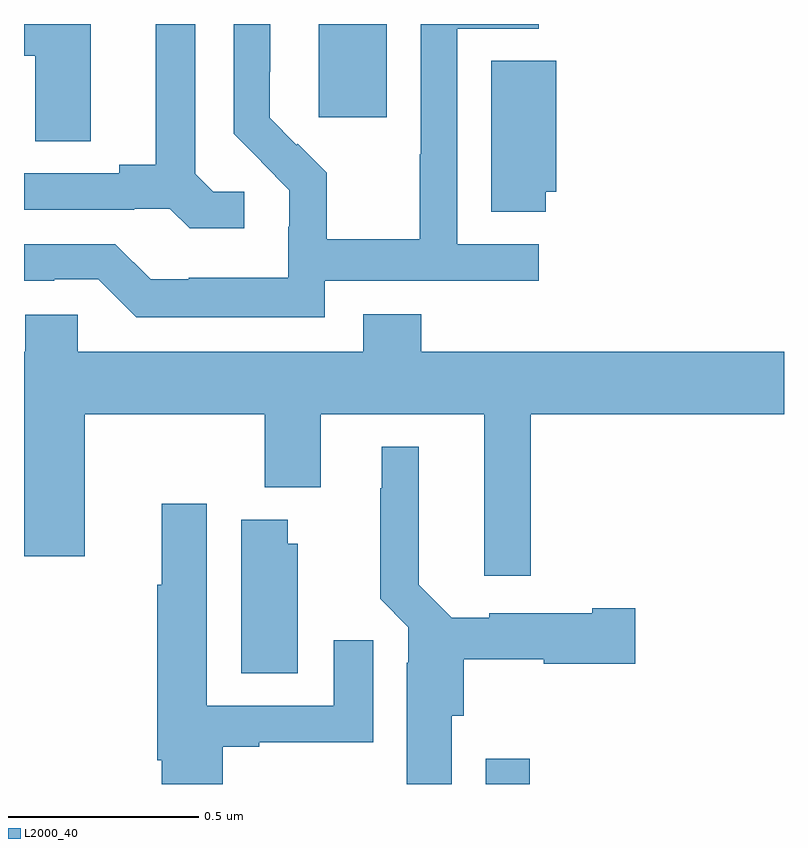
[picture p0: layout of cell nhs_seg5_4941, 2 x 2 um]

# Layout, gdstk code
import gdstk
lib = gdstk.Library(unit=1e-6, precision=1e-09)
def R(c, l, rs):  # rectangles x0, y0, x1, y1
    for r in rs: c.add(gdstk.rectangle(r[:2], r[2:], *l))
def P(c, l, *ps):  # polygons
    for p in ps: c.add(gdstk.Polygon(p, *l))
L2000_40 = (2000, 40)

nhs_seg5_4941 = lib.new_cell('nhs_seg5_4941')
R(nhs_seg5_4941, L2000_40, [(178.215,843.799,178.331,843.865), (177.776,845.553,177.955,845.799)])
P(nhs_seg5_4941, L2000_40, [(177.58,845.358),(177.498,845.358),(177.451,845.405),(177.451,845.799),(177.347,845.799),(177.347,845.429),(177.251,845.429),(177.251,845.406),(177,845.406),(177,845.31),(177.29,845.31),(177.29,845.313),(177.384,845.313),(177.436,845.261),(177.58,845.261)],
  [(177.792,845.124),(178.354,845.124),(178.354,845.22),(178.14,845.22),(178.14,845.787),(178.354,845.787),(178.354,845.799),(178.044,845.799),(178.044,845.456),(178.042,845.456),(178.042,845.233),(177.797,845.233),(177.797,845.407),(177.72,845.484),(177.717,845.481),(177.647,845.552),(177.647,845.674),(177.648,845.674),(177.648,845.799),(177.552,845.799),(177.552,845.51),(177.625,845.437),(177.624,845.436),(177.698,845.362),(177.698,845.265),(177.696,845.265),(177.696,845.131),(177.433,845.131),(177.433,845.127),(177.333,845.127),(177.24,845.22),(177,845.22),(177,845.124),(177.08,845.124),(177.08,845.127),(177.195,845.127),(177.295,845.027),(177.792,845.027)],
  [(177.175,845.799),(177,845.799),(177,845.715),(177.03,845.715),(177.03,845.491),(177.175,845.491)],
  [(178.373,845.358),(178.4,845.358),(178.4,845.702),(178.229,845.702),(178.229,845.305),(178.373,845.305)],
  [(178.334,844.772),(179,844.772),(179,844.936),(178.046,844.936),(178.046,845.035),(177.893,845.035),(177.893,844.936),(177.141,844.936),(177.141,845.034),(177.003,845.034),(177.003,844.936),(177,844.936),(177,844.398),(177.16,844.398),(177.16,844.772),(177.634,844.772),(177.634,844.58),(177.781,844.58),(177.781,844.772),(178.211,844.772),(178.211,844.347),(178.334,844.347)],
  [(178.126,843.978),(178.157,843.978),(178.157,844.127),(178.368,844.127),(178.368,844.115),(178.609,844.115),(178.609,844.262),(178.496,844.262),(178.496,844.249),(178.224,844.249),(178.224,844.237),(178.125,844.237),(178.039,844.324),(178.039,844.687),(177.941,844.687),(177.941,844.577),(177.937,844.577),(177.937,844.286),(178.011,844.212),(178.011,844.118),(178.007,844.118),(178.007,843.799),(178.126,843.799)],
  [(177.523,843.897),(177.619,843.897),(177.619,843.909),(177.919,843.909),(177.919,844.177),(177.815,844.177),(177.815,844.005),(177.481,844.005),(177.481,844.537),(177.362,844.537),(177.362,844.324),(177.35,844.324),(177.35,843.862),(177.362,843.862),(177.362,843.799),(177.523,843.799)],
  [(177.721,844.431),(177.694,844.431),(177.694,844.495),(177.572,844.495),(177.572,844.09),(177.721,844.09)])

lib.write_gds('nhs_seg5_4941.gds')
